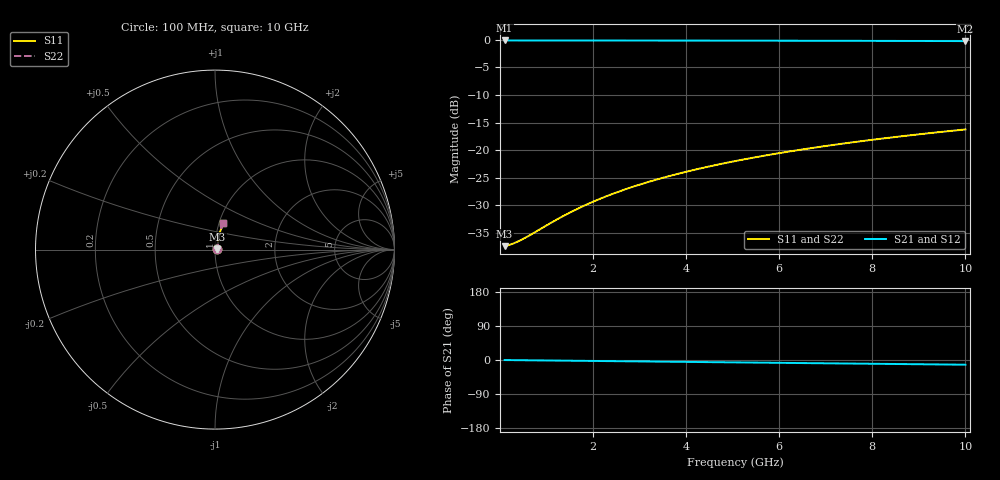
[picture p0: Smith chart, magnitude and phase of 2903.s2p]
# Hz S RI R 50.00
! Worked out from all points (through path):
!   100 points, 100 MHz to 10 GHz, reference 50 ohm
!   highest |S21| = -0.12 dB at 100 MHz (marker M1); lowest = -0.2 dB at 10 GHz (marker M2)
!   group delay of S21, straight-line fit = 3.45 ps
!   lowest |S11| = -37.4 dB at 100 MHz (marker M3), VSWR 1.03, Z = 51.4 + j0.157 ohm
!   |S11| at or under -10 dB: start of sweep to end of sweep
!   |S22| runs from -37.4 to -16.2 dB; largest |S21 - S12| = 0
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1e8  0.0134 0.00153  0.9866 -0.00215  0.9866 -0.00215  0.0134 0.00153
2e8  0.0135 0.00306  0.9865 -0.0043  0.9865 -0.0043  0.0135 0.00306
3e8  0.0136 0.00458  0.9864 -0.00645  0.9864 -0.00645  0.0136 0.00458
4e8  0.0137 0.00611  0.9863 -0.00859  0.9863 -0.00859  0.0137 0.00611
5e8  0.0137 0.00764  0.9862 -0.0107  0.9862 -0.0107  0.0137 0.00764
1.3e9  0.0145 0.0198  0.9855 -0.0279  0.9855 -0.0279  0.0145 0.0198
1.5e9  0.0147 0.0229  0.9853 -0.0322  0.9853 -0.0322  0.0147 0.0229
1.8e9  0.0151 0.0274  0.9849 -0.0386  0.9849 -0.0386  0.0151 0.0274
2.1e9  0.0155 0.032  0.9844 -0.045  0.9844 -0.045  0.0155 0.032
2.5e9  0.0162 0.0381  0.9837 -0.0536  0.9837 -0.0536  0.0162 0.0381
2.9e9  0.0169 0.0441  0.9829 -0.0621  0.9829 -0.0621  0.0169 0.0441
3.4e9  0.0181 0.0517  0.9817 -0.0728  0.9817 -0.0728  0.0181 0.0517
3.8e9  0.019 0.0577  0.9806 -0.0813  0.9806 -0.0813  0.019 0.0577
4.2e9  0.0201 0.0637  0.9795 -0.0897  0.9795 -0.0897  0.0201 0.0637
4.6e9  0.0213 0.0696  0.9782 -0.0982  0.9782 -0.0982  0.0213 0.0696
5.1e9  0.023 0.077  0.9765 -0.1087  0.9765 -0.1087  0.023 0.077
5.9e9  0.0259 0.0888  0.9733 -0.1255  0.9733 -0.1255  0.0259 0.0888
6.7e9  0.0293 0.1004  0.9698 -0.1421  0.9698 -0.1421  0.0293 0.1004
7.5e9  0.033 0.1119  0.9658 -0.1586  0.9658 -0.1586  0.033 0.1119
8.4e9  0.0377 0.1247  0.9609 -0.177  0.9609 -0.177  0.0377 0.1247
9.2e9  0.0422 0.1358  0.956 -0.1931  0.956 -0.1931  0.0422 0.1358
1e10  0.0472 0.1468  0.9508 -0.2091  0.9508 -0.2091  0.0472 0.1468
